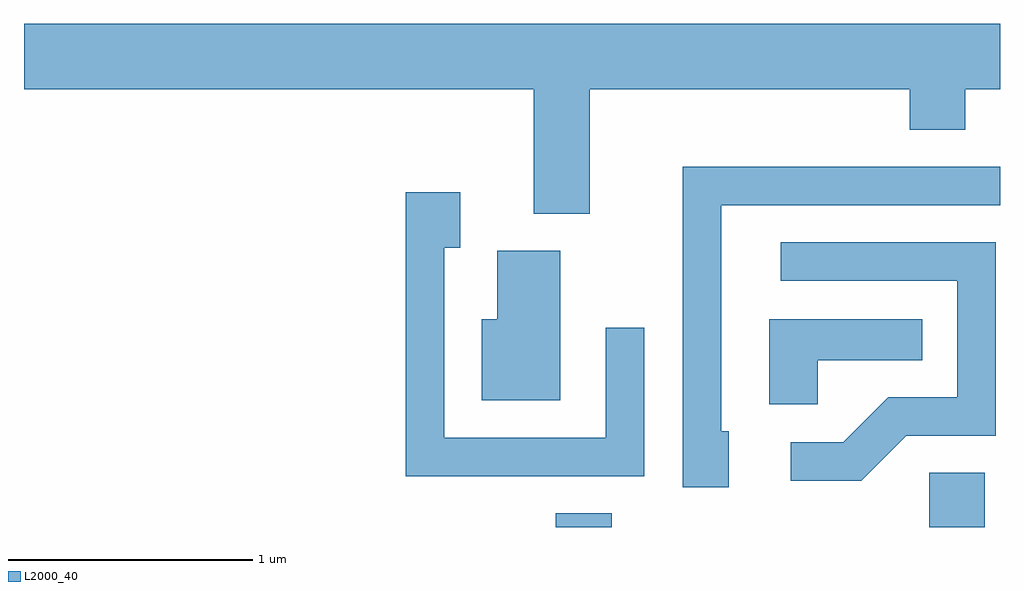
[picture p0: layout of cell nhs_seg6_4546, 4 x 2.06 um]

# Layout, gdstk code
import gdstk
lib = gdstk.Library(unit=1e-6, precision=1e-09)
def R(c, l, rs):  # rectangles x0, y0, x1, y1
    for r in rs: c.add(gdstk.rectangle(r[:2], r[2:], *l))
def P(c, l, *ps):  # polygons
    for p in ps: c.add(gdstk.Polygon(p, *l))
L2000_40 = (2000, 40)

nhs_seg6_4546 = lib.new_cell('nhs_seg6_4546')
R(nhs_seg6_4546, L2000_40, [(325.791,1628.162,326.019,1628.219), (327.321,1628.162,327.549,1628.384)])
P(nhs_seg6_4546, L2000_40, [(323.611,1629.956),(325.701,1629.956),(325.701,1629.446),(325.929,1629.446),(325.929,1629.956),(327.241,1629.956),(327.241,1629.791),(327.469,1629.791),(327.469,1629.956),(327.611,1629.956),(327.611,1630.224),(323.611,1630.224)],
  [(326.499,1628.554),(326.469,1628.554),(326.469,1629.481),(327.611,1629.481),(327.611,1629.639),(326.311,1629.639),(326.311,1628.326),(326.499,1628.326)],
  [(326.154,1628.978),(325.996,1628.978),(325.996,1628.529),(325.334,1628.529),(325.334,1629.306),(325.399,1629.306),(325.399,1629.534),(325.176,1629.534),(325.176,1628.371),(326.154,1628.371)],
  [(327.227,1628.536),(327.594,1628.536),(327.594,1629.329),(326.713,1629.329),(326.713,1629.171),(327.436,1629.171),(327.436,1628.694),(327.154,1628.694),(326.969,1628.509),(326.753,1628.509),(326.753,1628.351),(327.042,1628.351)],
  [(325.809,1629.294),(325.551,1629.294),(325.551,1629.014),(325.486,1629.014),(325.486,1628.681),(325.809,1628.681)],
  [(326.864,1628.846),(327.293,1628.846),(327.293,1629.014),(326.666,1629.014),(326.666,1628.666),(326.864,1628.666)])

lib.write_gds('nhs_seg6_4546.gds')
